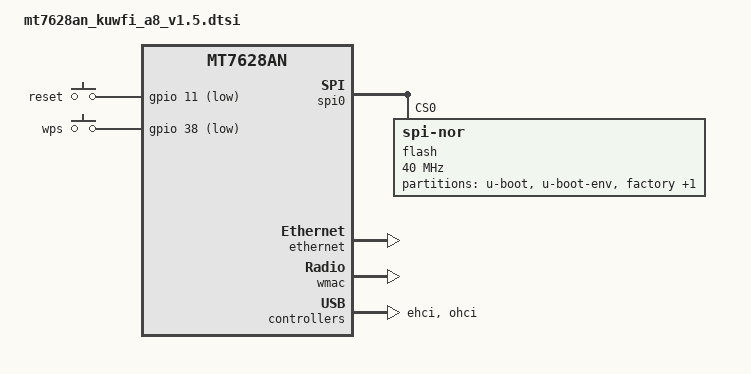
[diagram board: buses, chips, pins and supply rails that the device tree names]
// SPDX-License-Identifier: GPL-2.0-or-later OR MIT

#include "mt7628an.dtsi"

#include <dt-bindings/gpio/gpio.h>
#include <dt-bindings/input/input.h>
#include <dt-bindings/leds/common.h>

/ {
	chosen {
		bootargs = "console=ttyS0,115200";
	};

	keys {
		compatible = "gpio-keys";

		reset {
			label = "reset";
			gpios = <&gpio 11 GPIO_ACTIVE_LOW>;
			linux,code = <KEY_RESTART>;
		};

		wps {
			label = "wps";
			gpios = <&gpio 38 GPIO_ACTIVE_LOW>;
			linux,code = <KEY_WPS_BUTTON>;
		};
	};
};

&spi0 {
	status = "okay";

	flash@0 {
		compatible = "jedec,spi-nor";
		reg = <0>;
		spi-max-frequency = <40000000>;

		partitions {
			compatible = "fixed-partitions";
			#address-cells = <1>;
			#size-cells = <1>;

			partition@0 {
				label = "u-boot";
				reg = <0x0 0x30000>;
				read-only;
			};

			partition@30000 {
				label = "u-boot-env";
				reg = <0x30000 0x10000>;
			};

			partition@40000 {
				label = "factory";
				reg = <0x40000 0x10000>;
				read-only;
			};

			partition@50000 {
				label = "firmware";
				reg = <0x50000 0x7b0000>;
			};
		};
	};
};

&ethernet {
	status = "okay";
};

&wmac {
	status = "okay";
};

&ehci {
	status = "okay";
};

&ohci {
	status = "okay";
};
